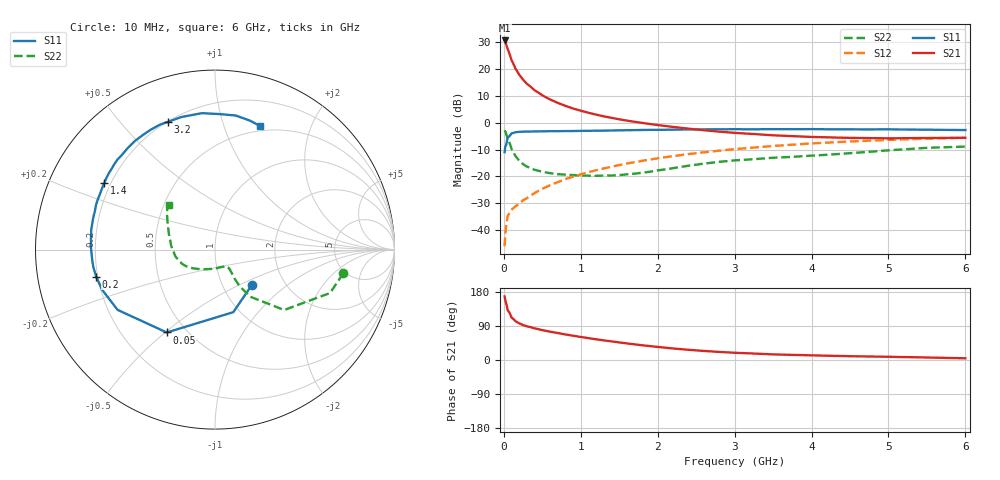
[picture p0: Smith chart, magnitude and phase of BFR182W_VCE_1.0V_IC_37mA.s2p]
! Infineon Technologies  Discrete & RF Semiconductors
! BFR182W
! VCE =  1.0 V,  IC =  37 mA
! Common Emitter S-Parameters:  Jan 2017
# GHz  S  MA  R  50
!  f  S11  S21  S12  S22
! GHz  MAG  ANG  MAG  ANG  MAG  ANG  MAG  ANG
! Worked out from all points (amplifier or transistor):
!   77 points, 10 MHz to 6 GHz, reference 50 ohm
!   highest |S21| = 30.7 dB at 10 MHz (marker M1)
!   |S21| within 3 dB of that: start of sweep to 47.92 MHz
!   unconditionally stable (mu >= 1): start of sweep to 14.32 MHz; 184.2 MHz to end of sweep
!   at 130 MHz: K = 0.82, MSG = 26.7 dB, |S12| = -31.7 dB
!   at 2.2 GHz: K = 1.18, MAG = 2.8 dB, |S12| = -12.4 dB
!   at 6 GHz: K = 1.13, MAG = -2.2 dB, |S12| = -5.6 dB
!   S11 on the Smith chart (normalised r, x): 10 MHz: 1.38, -0.59; 50 MHz: 0.39, -0.51; 200 MHz: 0.19, -0.11; 1.4 GHz: 0.18, +0.27; 3.2 GHz: 0.20, +0.68; 6 GHz: 0.45, +1.33
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0.01  0.2844 -43.4  34.41 167.6  0.005 65.1  0.7272 -10.5
0.02  0.3632 -73.7  32.6 156.4  0.0088 66.1  0.6849 -20.7
0.05  0.5343 -120.2  23.9 131.5  0.0182 52.3  0.512 -41.1
0.1  0.6384 -148.3  14.75 111.9  0.0238 48.9  0.327 -53.3
0.15  0.6675 -160.4  10.35 102.6  0.0276 49.2  0.2411 -56.1
0.2  0.6791 -167.2  7.906 96.7  0.0311 52.3  0.1966 -56.0
0.25  0.6849 -171.9  6.391 92.2  0.036 55.5  0.1697 -54.8
0.3  0.6868 -175.5  5.348 89.0  0.0392 58.2  0.1523 -54.1
0.4  0.6911 179.1  4.055 83.4  0.049 62.5  0.1328 -53.0
0.5  0.6938 175.0  3.259 78.9  0.0586 64.8  0.122 -53.7
0.6  0.6982 171.1  2.737 74.8  0.0685 66.3  0.1152 -55.2
0.7  0.6989 168.3  2.356 71.2  0.078 67.9  0.1103 -57.1
0.9  0.7027 162.1  1.851 64.1  0.0991 68.6  0.106 -64.2
1.1  0.7104 156.8  1.542 57.7  0.1203 68.7  0.1033 -73.0
1.4  0.7196 149.1  1.239 49.1  0.1522 67.2  0.1041 -89.3
1.7  0.7311 142.0  1.045 41.3  0.1847 65.2  0.1125 -106.1
2.1  0.7423 132.7  0.873 32.5  0.2284 61.0  0.1356 -126.5
3.1  0.7591 112.0  0.637 18.3  0.3317 49.3  0.2033 -159.3
3.2  0.7585 110.1  0.624 17.5  0.341 48.1  0.2076 -162.2
4.1  0.7608 93.9  0.541 11.8  0.4198 36.8  0.2485 172.4
5.1  0.753 80.0  0.515 8.1  0.4848 24.7  0.3135 147.8
6  0.7332 69.9  0.526 4.5  0.5274 14.9  0.3604 135.9
